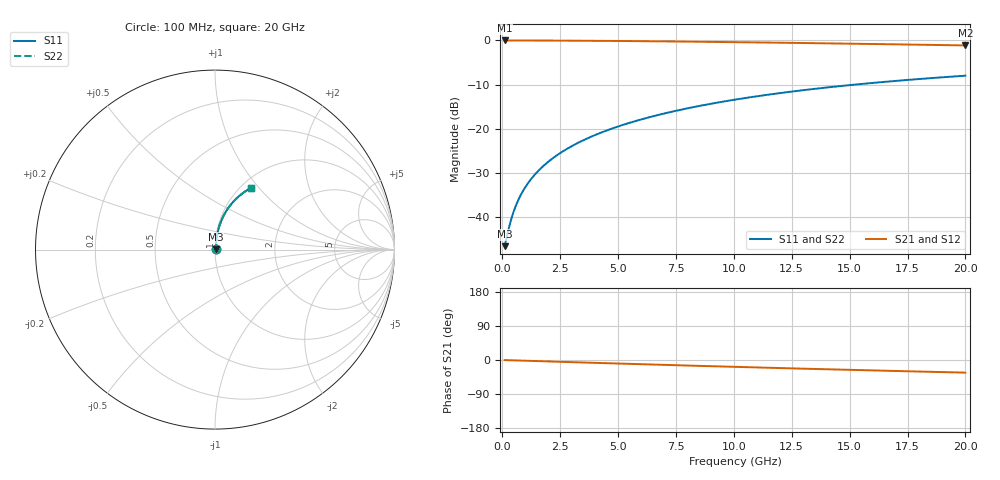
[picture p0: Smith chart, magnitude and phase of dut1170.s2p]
! Touchstone file exported from HFSS 2024.1.0
!  File:  C:/UserFiles/LocalFiles/RDL_TSV_Batchsim/temp_RDL_top_1170_1780048859.aedt
!  Generated:  06:03:04 PM May 29, 2026
!  Design:  RDL_top
!  Project:  temp_RDL_top_1170_1780048859
!  Setup:  Setup1
!  Solution:  Sweep
! Variables:
!  dtsv = 10.80580581um
!  hbump = 3um
!  htsv = 89.66um
!  ldown = 100um
!  lrdl = 372.15um
!  p = 40
!  p1 = 57.55um
!  rhole = 1um
!  t = 450um
!  tdown = 3.915915916um
!  trdl = 2.18um
!  wdown = 15.38538539um
!  wrdl = 15.38um
# GHz S MA R 50.000000
! Terminal data exported
! Port[1] = Box2_T1
! Port[2] = Box2_T2
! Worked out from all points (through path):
!   200 points, 100 MHz to 20 GHz, reference 50 ohm
!   highest |S21| = -0.04 dB at 100 MHz (marker M1); lowest = -1.2 dB at 20 GHz (marker M2)
!   group delay of S21, straight-line fit = 4.62 ps
!   lowest |S11| = -46.5 dB at 100 MHz (marker M3), VSWR 1.01, Z = 50.4 + j0.223 ohm
!   |S11| at or under -10 dB: start of sweep to 15.24 GHz
!   |S22| runs from -46.5 to -8.0 dB; largest |S21 - S12| = 2.2e-15
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0.1  0.004728 27.9  0.9958 -0.2  0.9958 -0.2  0.004728 27.9
! Gamma 0 0 0 0
! Port Impedance 50 0 50 0
0.3  0.007883 56.8  0.9957 -0.6  0.9957 -0.6  0.007883 56.8
0.4  0.009816 63.3  0.9956 -0.8  0.9956 -0.8  0.009816 63.3
0.5  0.01182 67.4  0.9954 -1.0  0.9954 -1.0  0.01182 67.4
0.6  0.01385 70.3  0.9953 -1.2  0.9953 -1.2  0.01385 70.3
0.7  0.0159 72.5  0.9952 -1.4  0.9952 -1.4  0.0159 72.5
0.9  0.02001 75.3  0.9949 -1.7  0.9949 -1.7  0.02001 75.3
1.2  0.02619 77.9  0.9944 -2.3  0.9944 -2.3  0.02619 77.9
1.4  0.03032 79.0  0.994 -2.7  0.994 -2.7  0.03032 79.0
1.7  0.03653 80.1  0.9935 -3.2  0.9935 -3.2  0.03654 80.1
2.2  0.04695 81.1  0.9924 -4.2  0.9924 -4.2  0.04695 81.1
2.8  0.05954 81.6  0.9908 -5.3  0.9908 -5.3  0.05954 81.6
3.5  0.07433 81.7  0.9886 -6.6  0.9886 -6.6  0.07433 81.7
4.2  0.08921 81.4  0.986 -7.9  0.986 -7.9  0.08921 81.4
5  0.1063 80.8  0.9826 -9.4  0.9826 -9.4  0.1063 80.8
5.9  0.1256 80.0  0.9783 -11.0  0.9783 -11.0  0.1256 80.0
6.8  0.1449 78.9  0.9735 -12.6  0.9735 -12.6  0.1449 78.9
8.4  0.179 76.8  0.9641 -15.3  0.9641 -15.3  0.179 76.8
10.1  0.2147 74.4  0.9529 -18.2  0.9529 -18.2  0.2147 74.4
13.4  0.2812 69.4  0.9288 -23.5  0.9288 -23.5  0.2812 69.4
16.7  0.3427 64.4  0.9026 -28.6  0.9026 -28.6  0.3427 64.4
20  0.3983 59.7  0.8752 -33.3  0.8752 -33.3  0.3983 59.7
